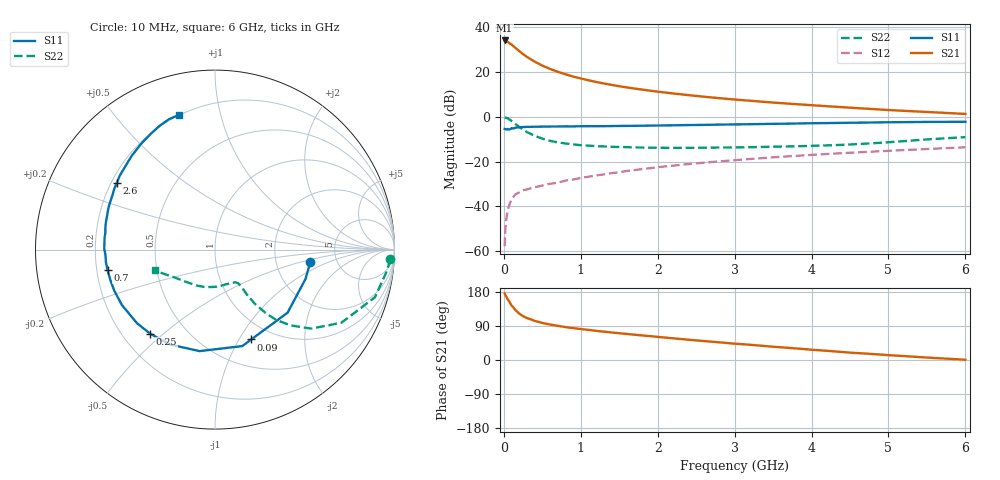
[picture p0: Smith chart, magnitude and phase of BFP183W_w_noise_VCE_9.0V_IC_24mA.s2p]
! Infineon Technologies  Discrete & RF Semiconductors
! BFP183W
! VCE =  9.0 V,  IC =  24 mA
! Common Emitter S-Parameters:  Jan 2017
# GHz  S  MA  R  50
!  f  S11  S21  S12  S22
! GHz  MAG  ANG  MAG  ANG  MAG  ANG  MAG  ANG
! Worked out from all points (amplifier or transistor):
!   77 points, 10 MHz to 6 GHz, reference 50 ohm
!   highest |S21| = 34.1 dB at 10 MHz (marker M1)
!   |S21| within 3 dB of that: start of sweep to 140.4 MHz
!   unconditionally stable (mu >= 1): 1.151 GHz to 3.478 GHz
!   at 130 MHz: K = 0.26, MSG = 33.4 dB, |S12| = -35.4 dB
!   at 2.2 GHz: K = 1.06, MAG = 14.6 dB, |S12| = -21.8 dB
!   at 6 GHz: K = 0.86, MSG = 7.4 dB, |S12| = -13.6 dB
!   lowest NFmin = 1.27 dB at 450 MHz
!   S11 on the Smith chart (normalised r, x): 10 MHz: 3.18, -0.61; 90 MHz: 0.80, -1.13; 250 MHz: 0.31, -0.45; 700 MHz: 0.24, -0.09; 2.6 GHz: 0.22, +0.30; 6 GHz: 0.20, +0.75
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0.01  0.5359 -7.3  50.63 175.9  0.0013 85.2  0.978 -3.2
0.02  0.53 -18.1  49.87 171.4  0.0032 94.1  0.9665 -6.8
0.05  0.5358 -41.0  47.21 160.3  0.0082 75.2  0.9296 -16.6
0.09  0.5397 -68.0  42.04 147.5  0.0131 64.4  0.8325 -27.1
0.1  0.5586 -74.2  41.12 143.9  0.0144 62.9  0.8132 -30.1
0.15  0.572 -98.6  34.75 131.8  0.0186 54.8  0.6934 -39.4
0.2  0.5849 -115.1  29.3 122.6  0.0206 50.4  0.5946 -45.2
0.25  0.5916 -127.6  25.09 115.7  0.0229 47.8  0.5174 -49.0
0.3  0.5975 -136.7  21.72 110.7  0.024 45.7  0.4568 -51.3
0.4  0.6037 -149.3  17.07 103.1  0.0268 47.0  0.3766 -53.6
0.5  0.6061 -157.8  13.92 97.8  0.0293 47.6  0.326 -54.4
0.6  0.6074 -164.1  11.76 93.6  0.0321 50.1  0.2922 -54.7
0.7  0.6094 -169.2  10.14 90.2  0.0338 51.6  0.2693 -54.6
0.9  0.6111 -177.3  7.935 84.2  0.0399 54.1  0.2426 -54.9
1.1  0.6171 176.5  6.542 79.4  0.0461 57.2  0.2276 -55.6
1.5  0.6259 166.7  4.822 70.7  0.0583 58.9  0.212 -59.5
2.1  0.643 154.3  3.482 59.2  0.0783 59.3  0.2036 -70.2
2.6  0.6615 145.6  2.811 50.0  0.0948 58.0  0.2046 -82.3
3.1  0.6806 137.6  2.359 41.7  0.1112 55.9  0.2089 -94.8
4.1  0.7222 123.7  1.772 25.7  0.1448 50.8  0.2277 -120.8
5.1  0.7587 113.0  1.391 11.6  0.1778 45.0  0.2787 -146.8
6  0.7769 105.0  1.162 0.6  0.2091 39.2  0.3526 -160.9
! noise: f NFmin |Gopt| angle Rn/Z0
0.45  1.27  0.23  176  0.1
0.9  1.29  0.27  178  0.09
1.9  1.78  0.43  -159  0.09
2.4  2.01  0.47  -154  0.13
